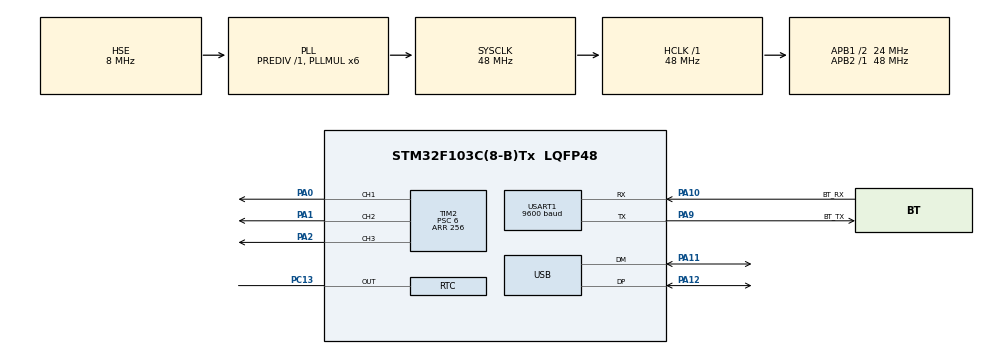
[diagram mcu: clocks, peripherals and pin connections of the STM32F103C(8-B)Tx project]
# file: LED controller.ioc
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Mcu.Family=STM32F1
Mcu.Name=STM32F103C(8-B)Tx
Mcu.Package=LQFP48
NVIC.PriorityGroup=NVIC_PRIORITYGROUP_4
NVIC.RTC_Alarm_IRQn=true\:0\:0\:false\:false\:true\:true\:true
NVIC.USART1_IRQn=true\:0\:0\:false\:false\:true\:true\:true
NVIC.USB_LP_CAN1_RX0_IRQn=true\:0\:0\:false\:false\:true\:false\:true
PA0-WKUP.Signal=S_TIM2_CH1_ETR
PA1.Signal=S_TIM2_CH2
PA10.GPIO_Label=BT_RX
PA10.Mode=Asynchronous
PA10.Signal=USART1_RX
PA11.Mode=Device
PA11.Signal=USB_DM
PA12.Mode=Device
PA12.Signal=USB_DP
PA13.Mode=Serial_Wire
PA13.Signal=SYS_JTMS-SWDIO
PA14.Mode=Serial_Wire
PA14.Signal=SYS_JTCK-SWCLK
PA2.Signal=S_TIM2_CH3
PA9.GPIO_Label=BT_TX
PA9.Mode=Asynchronous
PA9.Signal=USART1_TX
PC13-TAMPER-RTC.Mode=RTC OUT
PC13-TAMPER-RTC.Signal=RTC_OUT
PC14-OSC32_IN.Mode=LSE-External-Oscillator
PC14-OSC32_IN.Signal=RCC_OSC32_IN
PC15-OSC32_OUT.Mode=LSE-External-Oscillator
PC15-OSC32_OUT.Signal=RCC_OSC32_OUT
PD0-OSC_IN.Mode=HSE-External-Oscillator
PD0-OSC_IN.Signal=RCC_OSC_IN
PD1-OSC_OUT.Mode=HSE-External-Oscillator
PD1-OSC_OUT.Signal=RCC_OSC_OUT
ProjectManager.HeapSize=0x200
ProjectManager.StackSize=0x400
ProjectManager.TargetToolchain=MDK-ARM V5.27
RCC.AHBFreq_Value=48000000
RCC.APB1CLKDivider=RCC_HCLK_DIV2
RCC.APB1Freq_Value=24000000
RCC.APB1TimFreq_Value=48000000
RCC.APB2Freq_Value=48000000
RCC.APB2TimFreq_Value=48000000
RCC.HCLKFreq_Value=48000000
RCC.PLLMUL=RCC_PLL_MUL6
RCC.PLLSourceVirtual=RCC_PLLSOURCE_HSE
RCC.RTCClockSelection=RCC_RTCCLKSOURCE_LSE
RCC.SYSCLKFreq_VALUE=48000000
RCC.SYSCLKSource=RCC_SYSCLKSOURCE_PLLCLK
RCC.USBFreq_Value=48000000
RTC.Format=RTC_FORMAT_BIN
SH.S_TIM2_CH1_ETR.0=TIM2_CH1,PWM Generation1 CH1
SH.S_TIM2_CH2.0=TIM2_CH2,PWM Generation2 CH2
SH.S_TIM2_CH3.0=TIM2_CH3,PWM Generation3 CH3
TIM2.Channel-PWM\ Generation1\ CH1=TIM_CHANNEL_1
TIM2.Channel-PWM\ Generation2\ CH2=TIM_CHANNEL_2
TIM2.Channel-PWM\ Generation3\ CH3=TIM_CHANNEL_3
TIM2.Period=256
TIM2.Prescaler=6
USART1.BaudRate=9600
USART1.VirtualMode=VM_ASYNC
USB_DEVICE.CLASS_NAME_FS=CDC
USB_DEVICE.MANUFACTURER_STRING=Retroboy
USB_DEVICE.PID_CDC_FS=22336
USB_DEVICE.PRODUCT_STRING_CDC_FS=LED controller
USB_DEVICE.USBD_MAX_STR_DESC_SIZ=256
USB_DEVICE.VID=1155
USB_DEVICE.VirtualMode=Cdc
USB_DEVICE.VirtualModeFS=Cdc_FS
VP_RTC_VS_RTC_Activate.Mode=RTC_Enabled
VP_RTC_VS_RTC_Calendar.Mode=RTC_Calendar
VP_TIM2_VS_ClockSourceINT.Mode=Internal
VP_USB_DEVICE_VS_USB_DEVICE_CDC_FS.Mode=CDC_FS
board=custom

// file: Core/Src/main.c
/* USER CODE BEGIN Header */
/**
  ******************************************************************************
  * @file           : main.c
  * @brief          : Main program body
  ******************************************************************************
  * @attention
  *
  * <h2><center>&copy; Copyright (c) 2021 STMicroelectronics.
  * All rights reserved.</center></h2>
  *
  * This software component is licensed by ST under BSD 3-Clause license,
  * the "License"; You may not use this file except in compliance with the
  * License. You may obtain a copy of the License at:
  *                        opensource.org/licenses/BSD-3-Clause
  *
  ******************************************************************************
  */
/* USER CODE END Header */
#include "main.h"
#include "usb_device.h"

/* USER CODE BEGIN Includes */
#include "usbd_cdc_if.h"
/* USER CODE END Includes */

RTC_HandleTypeDef hrtc;

TIM_HandleTypeDef htim2;

UART_HandleTypeDef huart1;

extern RTC_AlarmTypeDef sAlarm;

/* USER CODE BEGIN PV */

vcp_t vcp;
bluetooth_t bt;

extern Color_t color_rx;
/* USER CODE END PV */

void SystemClock_Config(void);
static void MX_GPIO_Init(void);
static void MX_TIM2_Init(void);
static void MX_RTC_Init(void);
static void MX_USART1_UART_Init(void);

/* USER CODE BEGIN 0 */

void HAL_RTC_AlarmAEventCallback(RTC_HandleTypeDef *hrtc)
{
	color_rx.brightness = 0;
	set_color(color_rx);
	HAL_RTC_SetAlarm_IT(hrtc, &sAlarm, RTC_FORMAT_BIN);
}

void HAL_UART_RxCpltCallback(UART_HandleTypeDef *huart)
{
	if(huart == &huart1)
	{
		bt_rx_parse(&bt);
	}
}

/* USER CODE END 0 */

int main(void)
{

  /* MCU Configuration--------------------------------------------------------*/

  /* Reset of all peripherals, Initializes the Flash interface and the Systick. */
  HAL_Init();

  /* Configure the system clock */
  SystemClock_Config();

  /* Initialize all configured peripherals */
  MX_GPIO_Init();
  MX_TIM2_Init();
  MX_RTC_Init();
  MX_USART1_UART_Init();
  MX_USB_DEVICE_Init();
  /* USER CODE BEGIN 2 */
	pwm_init();
	BT_listen(&huart1, &bt);
	VCP_init(&vcp);
  /* USER CODE END 2 */

  /* Infinite loop */
  while (1)
  {

	}
}

void SystemClock_Config(void)
{
  RCC_OscInitTypeDef RCC_OscInitStruct = {0};
  RCC_ClkInitTypeDef RCC_ClkInitStruct = {0};
  RCC_PeriphCLKInitTypeDef PeriphClkInit = {0};

  /** Initializes the RCC Oscillators according to the specified parameters
  * in the RCC_OscInitTypeDef structure.
  */
  RCC_OscInitStruct.OscillatorType = RCC_OSCILLATORTYPE_HSE|RCC_OSCILLATORTYPE_LSE;
  RCC_OscInitStruct.HSEState = RCC_HSE_ON;
  RCC_OscInitStruct.HSEPredivValue = RCC_HSE_PREDIV_DIV1;
  RCC_OscInitStruct.LSEState = RCC_LSE_ON;
  RCC_OscInitStruct.HSIState = RCC_HSI_ON;
  RCC_OscInitStruct.PLL.PLLState = RCC_PLL_ON;
  RCC_OscInitStruct.PLL.PLLSource = RCC_PLLSOURCE_HSE;
  RCC_OscInitStruct.PLL.PLLMUL = RCC_PLL_MUL6;
  if (HAL_RCC_OscConfig(&RCC_OscInitStruct) != HAL_OK)
  {
    Error_Handler();
  }
  /** Initializes the CPU, AHB and APB buses clocks
  */
  RCC_ClkInitStruct.ClockType = RCC_CLOCKTYPE_HCLK|RCC_CLOCKTYPE_SYSCLK
                              |RCC_CLOCKTYPE_PCLK1|RCC_CLOCKTYPE_PCLK2;
  RCC_ClkInitStruct.SYSCLKSource = RCC_SYSCLKSOURCE_PLLCLK;
  RCC_ClkInitStruct.AHBCLKDivider = RCC_SYSCLK_DIV1;
  RCC_ClkInitStruct.APB1CLKDivider = RCC_HCLK_DIV2;
  RCC_ClkInitStruct.APB2CLKDivider = RCC_HCLK_DIV1;

  if (HAL_RCC_ClockConfig(&RCC_ClkInitStruct, FLASH_LATENCY_1) != HAL_OK)
  {
    Error_Handler();
  }
  PeriphClkInit.PeriphClockSelection = RCC_PERIPHCLK_RTC|RCC_PERIPHCLK_USB;
  PeriphClkInit.RTCClockSelection = RCC_RTCCLKSOURCE_LSE;
  PeriphClkInit.UsbClockSelection = RCC_USBCLKSOURCE_PLL;
  if (HAL_RCCEx_PeriphCLKConfig(&PeriphClkInit) != HAL_OK)
  {
    Error_Handler();
  }
}

static void MX_RTC_Init(void)
{

  RTC_TimeTypeDef sTime = {0};
  RTC_DateTypeDef DateToUpdate = {0};

  /** Initialize RTC Only
  */
  hrtc.Instance = RTC;
  hrtc.Init.AsynchPrediv = RTC_AUTO_1_SECOND;
  hrtc.Init.OutPut = RTC_OUTPUTSOURCE_ALARM;
  if (HAL_RTC_Init(&hrtc) != HAL_OK)
  {
    Error_Handler();
  }

  /** Initialize RTC and set the Time and Date
  */
  sTime.Hours = 0;
  sTime.Minutes = 0;
  sTime.Seconds = 0;

  if (HAL_RTC_SetTime(&hrtc, &sTime, RTC_FORMAT_BIN) != HAL_OK)
  {
    Error_Handler();
  }
  DateToUpdate.WeekDay = RTC_WEEKDAY_MONDAY;
  DateToUpdate.Month = RTC_MONTH_JANUARY;
  DateToUpdate.Date = 1;
  DateToUpdate.Year = 0;

  if (HAL_RTC_SetDate(&hrtc, &DateToUpdate, RTC_FORMAT_BIN) != HAL_OK)
  {
    Error_Handler();
  }

}

static void MX_TIM2_Init(void)
{

  TIM_ClockConfigTypeDef sClockSourceConfig = {0};
  TIM_MasterConfigTypeDef sMasterConfig = {0};
  TIM_OC_InitTypeDef sConfigOC = {0};

  htim2.Instance = TIM2;
  htim2.Init.Prescaler = 6;
  htim2.Init.CounterMode = TIM_COUNTERMODE_UP;
  htim2.Init.Period = 256;
  htim2.Init.ClockDivision = TIM_CLOCKDIVISION_DIV1;
  htim2.Init.AutoReloadPreload = TIM_AUTORELOAD_PRELOAD_DISABLE;
  if (HAL_TIM_Base_Init(&htim2) != HAL_OK)
  {
    Error_Handler();
  }
  sClockSourceConfig.ClockSource = TIM_CLOCKSOURCE_INTERNAL;
  if (HAL_TIM_ConfigClockSource(&htim2, &sClockSourceConfig) != HAL_OK)
  {
    Error_Handler();
  }
  if (HAL_TIM_PWM_Init(&htim2) != HAL_OK)
  {
    Error_Handler();
  }
  sMasterConfig.MasterOutputTrigger = TIM_TRGO_RESET;
  sMasterConfig.MasterSlaveMode = TIM_MASTERSLAVEMODE_DISABLE;
  if (HAL_TIMEx_MasterConfigSynchronization(&htim2, &sMasterConfig) != HAL_OK)
  {
    Error_Handler();
  }
  sConfigOC.OCMode = TIM_OCMODE_PWM1;
  sConfigOC.Pulse = 0;
  sConfigOC.OCPolarity = TIM_OCPOLARITY_HIGH;
  sConfigOC.OCFastMode = TIM_OCFAST_DISABLE;
  if (HAL_TIM_PWM_ConfigChannel(&htim2, &sConfigOC, TIM_CHANNEL_1) != HAL_OK)
  {
    Error_Handler();
  }
  if (HAL_TIM_PWM_ConfigChannel(&htim2, &sConfigOC, TIM_CHANNEL_2) != HAL_OK)
  {
    Error_Handler();
  }
  if (HAL_TIM_PWM_ConfigChannel(&htim2, &sConfigOC, TIM_CHANNEL_3) != HAL_OK)
  {
    Error_Handler();
  }
  HAL_TIM_MspPostInit(&htim2);

}

static void MX_USART1_UART_Init(void)
{

  huart1.Instance = USART1;
  huart1.Init.BaudRate = 9600;
  huart1.Init.WordLength = UART_WORDLENGTH_8B;
  huart1.Init.StopBits = UART_STOPBITS_1;
  huart1.Init.Parity = UART_PARITY_NONE;
  huart1.Init.Mode = UART_MODE_TX_RX;
  huart1.Init.HwFlowCtl = UART_HWCONTROL_NONE;
  huart1.Init.OverSampling = UART_OVERSAMPLING_16;
  if (HAL_UART_Init(&huart1) != HAL_OK)
  {
    Error_Handler();
  }

}

static void MX_GPIO_Init(void)
{

  /* GPIO Ports Clock Enable */
  __HAL_RCC_GPIOC_CLK_ENABLE();
  __HAL_RCC_GPIOD_CLK_ENABLE();
  __HAL_RCC_GPIOA_CLK_ENABLE();

}

/* USER CODE BEGIN 4 */

void CDC_ReceiveCallBack(uint8_t *buf, uint32_t len)
{
	vcp_rx_parse(&vcp, buf);
}

/* USER CODE END 4 */

void Error_Handler(void)
{
  __disable_irq();
  while (1)
  {
  }
}

/************************ (C) COPYRIGHT STMicroelectronics *****END OF FILE****/
